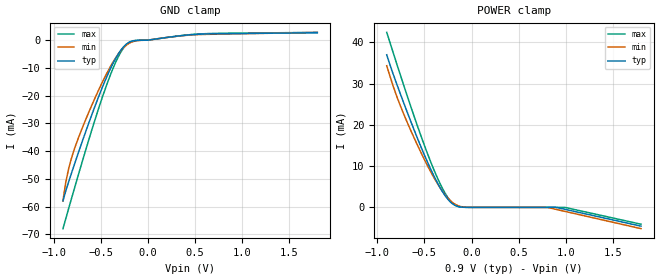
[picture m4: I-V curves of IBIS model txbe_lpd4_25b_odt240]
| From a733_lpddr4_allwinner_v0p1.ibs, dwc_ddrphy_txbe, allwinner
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[Model] txbe_lpd4_25b_odt240
Model_type   Input
Polarity   Non-Inverting
Enable   Active-High
C_comp   943.929fF   937.205fF   956.922fF
C_comp_pullup   265.843fF   264.813fF   269.433fF
C_comp_pulldown 533.913fF   528.419fF   557.961fF
Vinh = 500.000mV
Vinl = 390.000mV
[Model Spec]
D_overshoot_ampl_h 0.1 NA   NA
D_overshoot_ampl_l 0.1 NA   NA
D_overshoot_area_l 300.000m NA   NA
D_overshoot_area_h 300.000m NA   NA
[Receiver Thresholds]
Vth = 220.000mV
Vth_min = 212.000mV
Vth_max = 234.000mV
Vinh_ac = 60.000mV
Vinh_dc = 60.000mV
Vinl_ac = -60.000mV
Vinl_dc = -60.000mV
Tslew_ac = 5.000ns
Threshold_sensitivity = 0.5
Reference_supply Power_clamp_ref
[Temperature Range]   25.000   125.000   -40.000
[Voltage Range]   900.000mV   810.000mV   990.000mV
[GND Clamp Reference]   0.00V   0.00V   0.00V
[C Comp Corner]
| variable   typ   min   max
C_comp 943.929fF   956.922fF   937.205fF
C_comp_pullup 269.433fF   265.843fF   264.813fF
C_comp_pulldown 533.913fF   557.961fF   528.419fF
[POWER Clamp Reference]   900.000mV   810.000mV   990.000mV
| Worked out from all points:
|   GND clamp passes 1 mA (typ) near -0.21 V on its own axis
|   POWER clamp passes 1 mA (typ) near -0.21 V on its own axis
[GND Clamp]
-900mV    -57.96mA   -58.02mA   -67.99mA
-870mV    -54.36mA   -51.22mA   -64.34mA
-810mV    -47.95mA   -42.56mA   -57.16mA
-760mV    -42.9mA    -37.41mA   -51.27mA
-650mV    -32.15mA   -27.92mA   -38.62mA
-480mV    -16.81mA   -15mA      -20.38mA
-370mV    -8.437mA   -7.957mA   -10.27mA
-290mV    -3.781mA   -3.962mA   -4.533mA
-200mV    -802.1uA   -1.154mA   -836.4uA
-120mV    -94.09uA   -216uA     -64.96uA
490mV     2.044mA    1.939mA    2.11mA
1.8V      2.693mA    2.803mA    2.812mA
[Power Clamp]
-900mV    36.96mA    34.31mA    42.38mA
-750mV    27.16mA    24.29mA    31.69mA
-530mV    14.29mA    12.97mA    16.89mA
-420mV    8.6mA      8.069mA    10.26mA
-330mV    4.621mA    4.621mA    5.567mA
-250mV    1.93mA     2.21mA     2.324mA
-200mV    835uA      1.142mA    970uA
-60mV     12.6uA     41uA       6.8uA
810mV     -3.842uA   -32.02uA   -1.077uA
900mV     -4.733uA   -497.9uA   -1.357uA
990mV     -459.3uA   -963.8uA   -1.647uA
1.8V      -4.55mA    -5.157mA   -4.08mA
